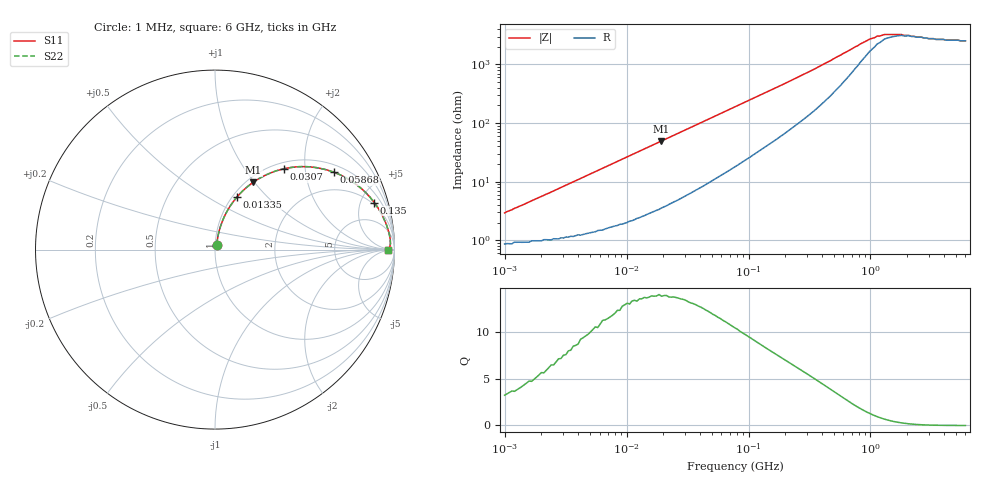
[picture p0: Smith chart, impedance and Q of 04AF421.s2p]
# MHz S MA R 50
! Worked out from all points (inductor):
!   189 points, 1 MHz to 6 GHz, reference 50 ohm
!   read as one part in series: L = 446 nH near 1 MHz
!   highest Q = 13.9 at 19.33 MHz (marker M1), where L = 407 nH
!   self-resonance near 3.574 GHz
!   S11 on the Smith chart (normalised r, x): 1 MHz: 1.02, +0.06; 13.35 MHz: 1.05, +0.69; 30.7 MHz: 1.12, +1.54; 58.68 MHz: 1.25, +2.88; 135 MHz: 1.77, +6.44; 6 GHz: 52, -1
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1  0.029 71.1  0.991 -1.6  0.991 -1.6  0.029 71.1
2.3  0.063 77.2  0.988 -3.6  0.988 -3.6  0.063 77.2
4.396  0.117 77.2  0.981 -6.7  0.981 -6.7  0.117 77.2
8.403  0.213 73.1  0.96 -12.3  0.96 -12.3  0.213 73.1
13.348  0.32 67.2  0.924 -18.6  0.924 -18.6  0.32 67.2
18.454  0.417 61.3  0.88 -24.6  0.88 -24.6  0.417 61.3
19.328  0.432 60.4  0.871 -25.5  0.871 -25.5  0.432 60.4
30.7  0.591 49.6  0.764 -36.1  0.764 -36.1  0.591 49.6
42.444  0.7 41.2  0.661 -44.2  0.661 -44.2  0.7 41.2
58.681  0.791 33.0  0.547 -52.0  0.547 -52.0  0.791 33.0
77.46  0.851 26.6  0.45 -57.9  0.45 -57.9  0.851 26.6
97.624  0.889 21.9  0.376 -62.1  0.376 -62.1  0.889 21.9
134.969  0.925 16.5  0.285 -66.8  0.285 -66.8  0.925 16.5
195.437  0.951 11.6  0.204 -70.3  0.204 -70.3  0.951 11.6
340.538  0.97 6.7  0.118 -72.2  0.118 -72.2  0.97 6.7
987.156  0.977 1.6  0.036 -50.0  0.036 -50.0  0.977 1.6
1134.163  0.976 1.3  0.032 -41.6  0.032 -41.6  0.976 1.3
1303.062  0.975 1.0  0.03 -32.3  0.03 -32.3  0.975 1.0
1429.415  0.973 0.8  0.03 -26.3  0.03 -26.3  0.973 0.8
1801.528  0.971 0.4  0.03 -13.8  0.03 -13.8  0.971 0.4
3443.441  0.964 0.0  0.036 -0.2  0.036 -0.2  0.964 0.0
6000  0.962 -0.0  0.038 1.0  0.038 1.0  0.962 -0.0
